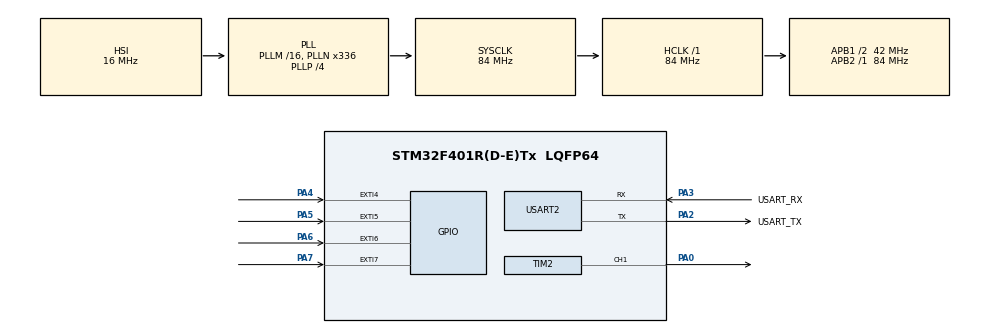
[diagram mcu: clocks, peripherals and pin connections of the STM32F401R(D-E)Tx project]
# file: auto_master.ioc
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Mcu.Family=STM32F4
Mcu.Name=STM32F401R(D-E)Tx
Mcu.Package=LQFP64
NVIC.EXTI4_IRQn=true\:1\:0\:true\:false\:true\:true\:true\:true
NVIC.EXTI9_5_IRQn=true\:1\:0\:true\:false\:true\:true\:true\:true
NVIC.PriorityGroup=NVIC_PRIORITYGROUP_1
NVIC.TIM3_IRQn=true\:0\:0\:false\:false\:true\:true\:true\:true
NVIC.USART2_IRQn=true\:0\:0\:false\:false\:true\:true\:true\:true
PA0-WKUP.Signal=S_TIM2_CH1_ETR
PA13.GPIO_Label=TMS
PA13.Signal=SYS_JTMS-SWDIO
PA14.GPIO_Label=TCK
PA14.Signal=SYS_JTCK-SWCLK
PA2.GPIO_Label=USART_TX
PA2.GPIO_Mode=GPIO_MODE_AF_PP
PA2.GPIO_PuPd=GPIO_NOPULL
PA2.GPIO_Speed=GPIO_SPEED_FREQ_LOW
PA2.Mode=Asynchronous
PA2.Signal=USART2_TX
PA3.GPIO_Label=USART_RX
PA3.GPIO_Mode=GPIO_MODE_AF_PP
PA3.GPIO_PuPd=GPIO_NOPULL
PA3.GPIO_Speed=GPIO_SPEED_FREQ_LOW
PA3.Mode=Asynchronous
PA3.Signal=USART2_RX
PA4.Signal=GPXTI4
PA5.Signal=GPXTI5
PA6.Signal=GPXTI6
PA7.Signal=GPXTI7
PB3.GPIO_Label=SWO
PB3.Signal=SYS_JTDO-SWO
PC14-OSC32_IN.Signal=RCC_OSC32_IN
PC15-OSC32_OUT.Signal=RCC_OSC32_OUT
PH0\ -\ OSC_IN.Signal=RCC_OSC_IN
PH1\ -\ OSC_OUT.Signal=RCC_OSC_OUT
ProjectManager.HeapSize=0x200
ProjectManager.StackSize=0x400
ProjectManager.TargetToolchain=STM32CubeIDE
RCC.AHBFreq_Value=84000000
RCC.APB1CLKDivider=RCC_HCLK_DIV2
RCC.APB1Freq_Value=42000000
RCC.APB1TimFreq_Value=84000000
RCC.APB2Freq_Value=84000000
RCC.APB2TimFreq_Value=84000000
RCC.CortexFreq_Value=84000000
RCC.HCLKFreq_Value=84000000
RCC.HSE_VALUE=8000000
RCC.HSI_VALUE=16000000
RCC.LSE_VALUE=32768
RCC.PLLN=336
RCC.PLLP=RCC_PLLP_DIV4
RCC.PLLQ=7
RCC.SYSCLKFreq_VALUE=84000000
RCC.SYSCLKSource=RCC_SYSCLKSOURCE_PLLCLK
RCC.VCOOutputFreq_Value=336000000
SH.S_TIM2_CH1_ETR.0=TIM2_CH1,PWM Generation1 CH1
TIM2.Channel-PWM\ Generation1\ CH1=TIM_CHANNEL_1
TIM2.Period=3999
TIM2.Prescaler=839
TIM2.Pulse-PWM\ Generation1\ CH1=2
TIM3.Period=2000-1
TIM3.Prescaler=83
USART2.VirtualMode=VM_ASYNC
VP_TIM2_VS_ClockSourceINT.Mode=Internal
VP_TIM3_VS_ClockSourceINT.Mode=Internal
board=NUCLEO-F401RE

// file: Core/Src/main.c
/* USER CODE BEGIN Header */
/**
  ******************************************************************************
  * @file           : main.c
  * @brief          : Main program body
  ******************************************************************************
  * @attention
  *
  * Copyright (c) 2024 STMicroelectronics.
  * All rights reserved.
  *
  * This software is licensed under terms that can be found in the LICENSE file
  * in the root directory of this software component.
  * If no LICENSE file comes with this software, it is provided AS-IS.
  *
  ******************************************************************************
  */
/* USER CODE END Header */
#include "main.h"

/* USER CODE BEGIN Includes */
#include "stdio.h"
#include "string.h"
/* USER CODE END Includes */

TIM_HandleTypeDef htim2;
TIM_HandleTypeDef htim3;

UART_HandleTypeDef huart2;

void SystemClock_Config(void);
static void MX_GPIO_Init(void);
static void MX_TIM2_Init(void);
static void MX_TIM3_Init(void);
static void MX_USART2_UART_Init(void);

/* USER CODE BEGIN 0 */
void HAL_TIM_PeriodElapsedCallback(TIM_HandleTypeDef *htim){
	if(htim->Instance == TIM3){
		GPIO_PinState ultra1 = HAL_GPIO_ReadPin(GPIOA, GPIO_PIN_5);
		GPIO_PinState ultra2 = HAL_GPIO_ReadPin(GPIOA, GPIO_PIN_6);
		GPIO_PinState ultra3 = HAL_GPIO_ReadPin(GPIOA, GPIO_PIN_7);
		if(ultra1){
			printf("1\n\r");
		}
		else if(ultra2){
			printf("2\n\r");
		}
		else if(ultra3){
			printf("3\n\r");
		}
		else{
			printf("lobe\n\r");
		}

		HAL_TIM_Base_Stop_IT(&htim3);
	}
}

void HAL_GPIO_EXTI_Callback(uint16_t pin){
	if(pin == GPIO_PIN_5 || pin == GPIO_PIN_6){
		HAL_TIM_Base_Start_IT(&htim3);
	}
}
/* USER CODE END 0 */

int main(void)
{

  /* MCU Configuration--------------------------------------------------------*/

  /* Reset of all peripherals, Initializes the Flash interface and the Systick. */
  HAL_Init();

  /* Configure the system clock */
  SystemClock_Config();

  /* Initialize all configured peripherals */
  MX_GPIO_Init();
  MX_TIM2_Init();
  MX_TIM3_Init();
  MX_USART2_UART_Init();
  /* USER CODE BEGIN 2 */
  HAL_TIM_PWM_Start(&htim2, TIM_CHANNEL_1);
  /* USER CODE END 2 */

  /* Infinite loop */
  while (1)
  {

  }
}

void SystemClock_Config(void)
{
  RCC_OscInitTypeDef RCC_OscInitStruct = {0};
  RCC_ClkInitTypeDef RCC_ClkInitStruct = {0};

  /** Configure the main internal regulator output voltage
  */
  __HAL_RCC_PWR_CLK_ENABLE();
  __HAL_PWR_VOLTAGESCALING_CONFIG(PWR_REGULATOR_VOLTAGE_SCALE2);

  /** Initializes the RCC Oscillators according to the specified parameters
  * in the RCC_OscInitTypeDef structure.
  */
  RCC_OscInitStruct.OscillatorType = RCC_OSCILLATORTYPE_HSI;
  RCC_OscInitStruct.HSIState = RCC_HSI_ON;
  RCC_OscInitStruct.HSICalibrationValue = RCC_HSICALIBRATION_DEFAULT;
  RCC_OscInitStruct.PLL.PLLState = RCC_PLL_ON;
  RCC_OscInitStruct.PLL.PLLSource = RCC_PLLSOURCE_HSI;
  RCC_OscInitStruct.PLL.PLLM = 16;
  RCC_OscInitStruct.PLL.PLLN = 336;
  RCC_OscInitStruct.PLL.PLLP = RCC_PLLP_DIV4;
  RCC_OscInitStruct.PLL.PLLQ = 7;
  if (HAL_RCC_OscConfig(&RCC_OscInitStruct) != HAL_OK)
  {
    Error_Handler();
  }

  /** Initializes the CPU, AHB and APB buses clocks
  */
  RCC_ClkInitStruct.ClockType = RCC_CLOCKTYPE_HCLK|RCC_CLOCKTYPE_SYSCLK
                              |RCC_CLOCKTYPE_PCLK1|RCC_CLOCKTYPE_PCLK2;
  RCC_ClkInitStruct.SYSCLKSource = RCC_SYSCLKSOURCE_PLLCLK;
  RCC_ClkInitStruct.AHBCLKDivider = RCC_SYSCLK_DIV1;
  RCC_ClkInitStruct.APB1CLKDivider = RCC_HCLK_DIV2;
  RCC_ClkInitStruct.APB2CLKDivider = RCC_HCLK_DIV1;

  if (HAL_RCC_ClockConfig(&RCC_ClkInitStruct, FLASH_LATENCY_2) != HAL_OK)
  {
    Error_Handler();
  }
}

static void MX_TIM2_Init(void)
{

  TIM_ClockConfigTypeDef sClockSourceConfig = {0};
  TIM_MasterConfigTypeDef sMasterConfig = {0};
  TIM_OC_InitTypeDef sConfigOC = {0};

  htim2.Instance = TIM2;
  htim2.Init.Prescaler = 839;
  htim2.Init.CounterMode = TIM_COUNTERMODE_UP;
  htim2.Init.Period = 3999;
  htim2.Init.ClockDivision = TIM_CLOCKDIVISION_DIV1;
  htim2.Init.AutoReloadPreload = TIM_AUTORELOAD_PRELOAD_DISABLE;
  if (HAL_TIM_Base_Init(&htim2) != HAL_OK)
  {
    Error_Handler();
  }
  sClockSourceConfig.ClockSource = TIM_CLOCKSOURCE_INTERNAL;
  if (HAL_TIM_ConfigClockSource(&htim2, &sClockSourceConfig) != HAL_OK)
  {
    Error_Handler();
  }
  if (HAL_TIM_PWM_Init(&htim2) != HAL_OK)
  {
    Error_Handler();
  }
  sMasterConfig.MasterOutputTrigger = TIM_TRGO_RESET;
  sMasterConfig.MasterSlaveMode = TIM_MASTERSLAVEMODE_DISABLE;
  if (HAL_TIMEx_MasterConfigSynchronization(&htim2, &sMasterConfig) != HAL_OK)
  {
    Error_Handler();
  }
  sConfigOC.OCMode = TIM_OCMODE_PWM1;
  sConfigOC.Pulse = 2;
  sConfigOC.OCPolarity = TIM_OCPOLARITY_HIGH;
  sConfigOC.OCFastMode = TIM_OCFAST_DISABLE;
  if (HAL_TIM_PWM_ConfigChannel(&htim2, &sConfigOC, TIM_CHANNEL_1) != HAL_OK)
  {
    Error_Handler();
  }
  HAL_TIM_MspPostInit(&htim2);

}

static void MX_TIM3_Init(void)
{

  TIM_ClockConfigTypeDef sClockSourceConfig = {0};
  TIM_MasterConfigTypeDef sMasterConfig = {0};

  htim3.Instance = TIM3;
  htim3.Init.Prescaler = 83;
  htim3.Init.CounterMode = TIM_COUNTERMODE_UP;
  htim3.Init.Period = 2000-1;
  htim3.Init.ClockDivision = TIM_CLOCKDIVISION_DIV1;
  htim3.Init.AutoReloadPreload = TIM_AUTORELOAD_PRELOAD_DISABLE;
  if (HAL_TIM_Base_Init(&htim3) != HAL_OK)
  {
    Error_Handler();
  }
  sClockSourceConfig.ClockSource = TIM_CLOCKSOURCE_INTERNAL;
  if (HAL_TIM_ConfigClockSource(&htim3, &sClockSourceConfig) != HAL_OK)
  {
    Error_Handler();
  }
  sMasterConfig.MasterOutputTrigger = TIM_TRGO_RESET;
  sMasterConfig.MasterSlaveMode = TIM_MASTERSLAVEMODE_DISABLE;
  if (HAL_TIMEx_MasterConfigSynchronization(&htim3, &sMasterConfig) != HAL_OK)
  {
    Error_Handler();
  }

}

static void MX_USART2_UART_Init(void)
{

  huart2.Instance = USART2;
  huart2.Init.BaudRate = 115200;
  huart2.Init.WordLength = UART_WORDLENGTH_8B;
  huart2.Init.StopBits = UART_STOPBITS_1;
  huart2.Init.Parity = UART_PARITY_NONE;
  huart2.Init.Mode = UART_MODE_TX_RX;
  huart2.Init.HwFlowCtl = UART_HWCONTROL_NONE;
  huart2.Init.OverSampling = UART_OVERSAMPLING_16;
  if (HAL_UART_Init(&huart2) != HAL_OK)
  {
    Error_Handler();
  }

}

static void MX_GPIO_Init(void)
{
  GPIO_InitTypeDef GPIO_InitStruct = {0};

  /* GPIO Ports Clock Enable */
  __HAL_RCC_GPIOC_CLK_ENABLE();
  __HAL_RCC_GPIOH_CLK_ENABLE();
  __HAL_RCC_GPIOA_CLK_ENABLE();
  __HAL_RCC_GPIOB_CLK_ENABLE();

  /*Configure GPIO pins : PA4 PA5 PA6 PA7 */
  GPIO_InitStruct.Pin = GPIO_PIN_4|GPIO_PIN_5|GPIO_PIN_6|GPIO_PIN_7;
  GPIO_InitStruct.Mode = GPIO_MODE_IT_RISING;
  GPIO_InitStruct.Pull = GPIO_NOPULL;
  HAL_GPIO_Init(GPIOA, &GPIO_InitStruct);

  /* EXTI interrupt init*/
  HAL_NVIC_SetPriority(EXTI4_IRQn, 1, 0);
  HAL_NVIC_EnableIRQ(EXTI4_IRQn);

  HAL_NVIC_SetPriority(EXTI9_5_IRQn, 1, 0);
  HAL_NVIC_EnableIRQ(EXTI9_5_IRQn);

}

/* USER CODE BEGIN 4 */
#ifdef __GNUC__
#define PUTCHAR_PROTOTYPE int __io_putchar(int ch)
#else
  #define PUTCHAR_PROTOTYPE int fputc(int ch, FILE *f)
#endif /* __GNUC__ */
PUTCHAR_PROTOTYPE
{
  HAL_UART_Transmit(&huart2, (uint8_t *)&ch, 1, 0xFFFF);
  return ch;
}
/* USER CODE END 4 */

void Error_Handler(void)
{
  __disable_irq();
  while (1)
  {
  }
}
